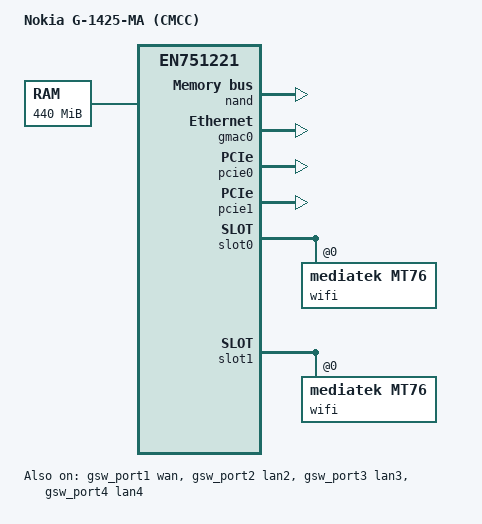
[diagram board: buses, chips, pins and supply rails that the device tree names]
// SPDX-License-Identifier: (GPL-2.0-only OR BSD-2-Clause)
/dts-v1/;

#include "en751221g.dtsi"

/*
 * Nokia G-1425-MA, *China Mobile (CMCC / 移动) OEM variant*.
 *
 * Same SoC/Wi-Fi as the standard G-1425-MA (EN751221, MT7603+MT7612), but a
 * different NAND layout: the kernel banks are only 0x240000 (2.25 MiB) instead
 * of 0x300000, the rootfs banks are 0x1a80000, and everything past rootfs_slave
 * is shifted. Offsets below are read from a live unit (sw 3FE49218JJHL03).
 *
 * OpenWrt goes in bank B (kernel_slave + rootfs_slave) ONLY. rootfs_slave is
 * big enough (26.5 MiB) to hold the squashfs plus the rootfs_data overlay in a
 * single UBI, so the stock config/data/log partitions are left untouched and
 * bank A stays a complete, bootable stock recovery.
 *
 * The bootloader expects a CMCC HDR3 header (magic bytes "HDR3", little-endian
 * fields) on kernel_slave — produced by image/g1425ma-cmcc-hdr3.py.
 */

/ {
	model = "Nokia G-1425-MA (CMCC)";
	compatible = "nokia,g1425ma-cmcc", "econet,en751221";

	memory@0 {
		device_type = "memory";
		reg = <0x00000000 0x1b800000>;
	};

	chosen {
		stdout-path = "/serial@1fbf0000:115200";
		bootargs = "console=ttyS0,115200 earlycon loglevel=8 ubi.mtd=rootfs_slave";
		linux,usable-memory-range = <0x00020000 0x1b7e0000>;
	};
};

&nand {
	status = "okay";
	econet,bmt;

	partitions {
		compatible = "fixed-partitions";
		#address-cells = <1>;
		#size-cells = <1>;

		partition@0 { label = "bootloader"; reg = <0x0 0x40000>; read-only; };
		partition@40000 { label = "romfile"; reg = <0x40000 0x40000>; read-only; };
		/* bank A = stock firmware / recovery: never writable from OpenWrt */
		partition@80000 { label = "stock_kernel"; reg = <0x80000 0x240000>; read-only; };
		partition@2c0000 { label = "stock_rootfs"; reg = <0x2c0000 0x19e0000>; read-only; };
		/* bank B = OpenWrt (kernel 2.25 MiB, rootfs+overlay UBI 26.5 MiB) */
		partition@1ca0000 { label = "kernel_slave"; reg = <0x1ca0000 0x240000>; };
		partition@1ee0000 { label = "rootfs_slave"; reg = <0x1ee0000 0x1a80000>; };
		partition@3960000 { label = "bosa"; reg = <0x3960000 0x40000>; read-only; };
		partition@39a0000 {
			label = "ri";
			reg = <0x39a0000 0x40000>;
			read-only;

			nvmem-layout {
				compatible = "fixed-layout";
				#address-cells = <1>;
				#size-cells = <1>;

				macaddr_ri_3e: macaddr@3e {
					compatible = "mac-base";
					reg = <0x3e 0x6>;
					#nvmem-cell-cells = <1>;
				};
			};
		};
		partition@39e0000 { label = "flag"; reg = <0x39e0000 0x40000>; };
		partition@3a20000 { label = "flagback"; reg = <0x3a20000 0x40000>; };
		/* stock config/data/log kept read-only so bank A recovery stays intact */
		partition@3a60000 { label = "stock_config"; reg = <0x3a60000 0xa00000>; read-only; };
		partition@4460000 { label = "stock_data"; reg = <0x4460000 0x8000000>; read-only; };
	};
};

&gmac0 {
	status = "okay";
	nvmem-cells = <&macaddr_ri_3e 0>;
	nvmem-cell-names = "mac-address";
};

/* Wi-Fi: ra0 (2.4 GHz, mt7603) + rai0 (5 GHz, mt7612) on PCIe.
 * First boot runs without per-unit caldata (efuse/default); add the stock
 * /configs EEPROM blobs later if 5 GHz RF needs calibration. */
&pcie0 {
	status = "okay";
};

&pcie1 {
	status = "okay";
};

&gsw_port1 {
	status = "okay";
	label = "wan";
};

&gsw_port2 {
	status = "okay";
	label = "lan2";
};

&gsw_port3 {
	status = "okay";
	label = "lan3";
};

&gsw_port4 {
	status = "okay";
	label = "lan4";
};

/* Persistent Wi-Fi MACs: ri base +1 (2.4 GHz), +2 (5 GHz) */
&slot0 {
	wifi@0,0 {
		compatible = "mediatek,mt76";
		reg = <0x0000 0 0 0 0>;
		nvmem-cells = <&macaddr_ri_3e 1>;
		nvmem-cell-names = "mac-address";
	};
};

&slot1 {
	wifi@0,0 {
		compatible = "mediatek,mt76";
		reg = <0x0000 0 0 0 0>;
		nvmem-cells = <&macaddr_ri_3e 2>;
		nvmem-cell-names = "mac-address";
	};
};
